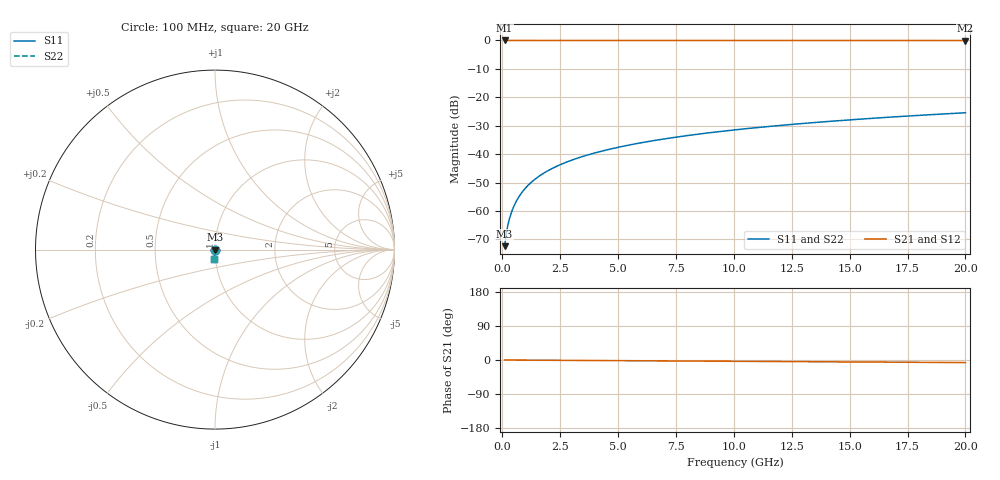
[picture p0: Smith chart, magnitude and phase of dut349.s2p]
! Touchstone file exported from HFSS 2026.1.0
!  File:  C:/ffzhzh/LocalFiles/Ansys_Project_Files/temp_train_TSV_349_1783019031_46388.aedt
!  Generated:  03:05:34 AM Jul  3, 2026
!  Design:  TSV
!  Project:  temp_train_TSV_349_1783019031_46388
! Variables:
!  h_bsmrdl = 2um
!  h_ox = 20um
!  h_rdl = 5um
!  h_sub = 61.72um
!  h_tmrdl = 5um
!  h_tsv = 61.72um
!  h_via = 3um
!  l_bsmrdl = 300um
!  l_sub = 428.84um
!  l_tmrdl = 200um
!  m_sub = 200um
!  pitch = 39.23um
!  r_tsv = 14.42um
!  s_tmrdl = 10um
!  w_bsmrdl = 18um
!  w_sub = 500um
!  w_tmrdl = 12um
!  x_tsv_center1 = 206um
!  x_tsv_center2 = 524um
!  x_tsv_center3 = 736um
!  x_tsv_center4 = 1054um
!  x_tsv_center5 = 1266um
!  x_tsv_center6 = 1584um
# GHz S MA R 50.000000
! Terminal data exported
! Port[1] = TSV1_1_T1
! Port[2] = TSV1_1_T2
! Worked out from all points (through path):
!   200 points, 100 MHz to 20 GHz, reference 50 ohm
!   highest |S21| = 0.00 dB at 100 MHz (marker M1); lowest = 0.0 dB at 20 GHz (marker M2)
!   lowest |S11| = -72.4 dB at 100 MHz (marker M3), VSWR 1.00, Z = 50 - j0.023 ohm
!   |S11| at or under -10 dB: start of sweep to end of sweep
!   |S22| runs from -72.4 to -25.4 dB; largest |S21 - S12| = 2.1e-15
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0.1  0.0002399 -73.3  0.9999 -0.0  0.9999 -0.0  0.0002399 -73.3
! Gamma 0 0 0 0
! Port Impedance 50 0 50 0
0.2  0.0004705 -80.0  0.9999 -0.1  0.9999 -0.1  0.0004705 -80.0
0.3  0.00071 -81.9  0.9999 -0.1  0.9999 -0.1  0.00071 -81.9
0.4  0.0009569 -82.8  0.9999 -0.1  0.9999 -0.1  0.0009569 -82.8
0.5  0.00121 -83.3  0.9999 -0.2  0.9999 -0.2  0.00121 -83.3
0.7  0.001729 -84.2  0.9998 -0.2  0.9998 -0.2  0.001729 -84.2
0.8  0.001992 -84.5  0.9998 -0.3  0.9998 -0.3  0.001992 -84.5
1  0.002522 -85.2  0.9998 -0.3  0.9998 -0.3  0.002522 -85.2
1.2  0.003053 -85.8  0.9997 -0.4  0.9997 -0.4  0.003053 -85.8
1.4  0.003585 -86.3  0.9997 -0.5  0.9997 -0.5  0.003585 -86.3
1.7  0.004383 -86.9  0.9997 -0.6  0.9997 -0.6  0.004383 -86.9
2  0.00518 -87.3  0.9997 -0.7  0.9997 -0.7  0.00518 -87.3
2.7  0.007039 -88.1  0.9996 -0.9  0.9996 -0.9  0.007039 -88.1
3.5  0.009166 -88.8  0.9996 -1.2  0.9996 -1.2  0.009166 -88.8
4.2  0.01103 -89.2  0.9995 -1.4  0.9995 -1.4  0.01103 -89.2
5  0.01317 -89.7  0.9995 -1.7  0.9995 -1.7  0.01317 -89.7
6.8  0.01799 -90.6  0.9993 -2.3  0.9993 -2.3  0.01799 -90.6
8.3  0.02202 -91.3  0.9992 -2.8  0.9992 -2.8  0.02202 -91.3
10.1  0.02686 -92.0  0.999 -3.4  0.999 -3.4  0.02686 -92.0
13.4  0.03574 -93.3  0.9986 -4.6  0.9986 -4.6  0.03574 -93.3
16.7  0.0446 -94.6  0.9981 -5.7  0.9981 -5.7  0.0446 -94.6
20  0.05346 -95.8  0.9976 -6.8  0.9976 -6.8  0.05346 -95.8
